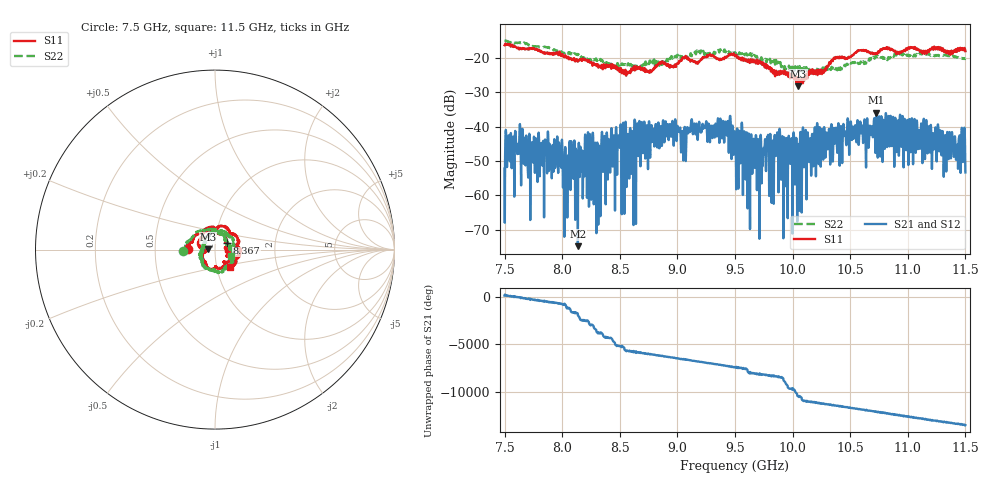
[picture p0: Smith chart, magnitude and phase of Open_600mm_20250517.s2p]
#  HZ  S  DB  R  50.00
! Rohde & Schwarz ZVA40 2Ports - Version 4.11 - 1145.1110k40 SN: 100216
! Date: 2025-05-18 21:17:40
! Measurements: S11 S21 S12 S22
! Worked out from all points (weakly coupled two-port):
!   5001 points, 7.5 GHz to 11.5 GHz, reference 50 ohm
!   highest |S21| = -35.96 dB at 10.73 GHz (marker M1); lowest = -74.7 dB at 8.136 GHz (marker M2)
!   lowest |S11| = -28.3 dB at 10.05 GHz (marker M3), VSWR 1.08, Z = 46.3 + j0.137 ohm
!   |S11| at or under -10 dB: start of sweep to end of sweep
!   |S22| runs from -25.3 to -15.0 dB; largest |S21 - S12| = 0.00019
!   S11 on the Smith chart (normalised r, x): 7.5 GHz: 0.74, +0.01; 8.367 GHz: 1.14, +0.08; 11.5 GHz: 1.16, -0.22
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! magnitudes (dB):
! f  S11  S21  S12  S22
! 7.5 GHz  -16.3  -52.2  -52.2  -15.0
! 7.642 GHz  -17.5  -56.8  -56.9  -15.5
! 7.714 GHz  -17.6  -42.1  -42.1  -16.3
! 7.97 GHz  -19.1  -46.0  -46.0  -18.2
! 8.026 GHz  -19.3  -46.1  -46.1  -18.6
! 8.078 GHz  -20.2  -44.5  -44.5  -18.9
! 8.136 GHz  -21.1  -74.7  -75.1  -19.1
! 8.167 GHz  -20.7  -48.9  -48.8  -19.7
! 8.274 GHz  -21.7  -62.6  -62.7  -20.6
! 8.315 GHz  -22.8  -52.6  -52.6  -20.5
! 8.367 GHz  -22.5  -42.7  -42.8  -20.8
! 8.834 GHz  -22.0  -38.9  -38.9  -21.1
! 9.365 GHz  -20.6  -44.3  -44.3  -18.4
! 9.5 GHz  -19.5  -41.6  -41.6  -18.4
! 9.726 GHz  -21.4  -43.8  -43.8  -20.2
! 9.877 GHz  -24.1  -55.1  -54.9  -21.2
! 10.05 GHz  -28.3  -46.3  -46.3  -24.0
! 10.17 GHz  -24.0  -43.0  -42.9  -24.2
! 10.73 GHz  -18.8  -36.0  -35.9  -19.9
! 10.83 GHz  -17.1  -37.0  -37.0  -19.9
! 11.48 GHz  -17.6  -49.9  -49.8  -20.3
! 11.5 GHz  -18.1  -53.3  -53.3  -20.3
